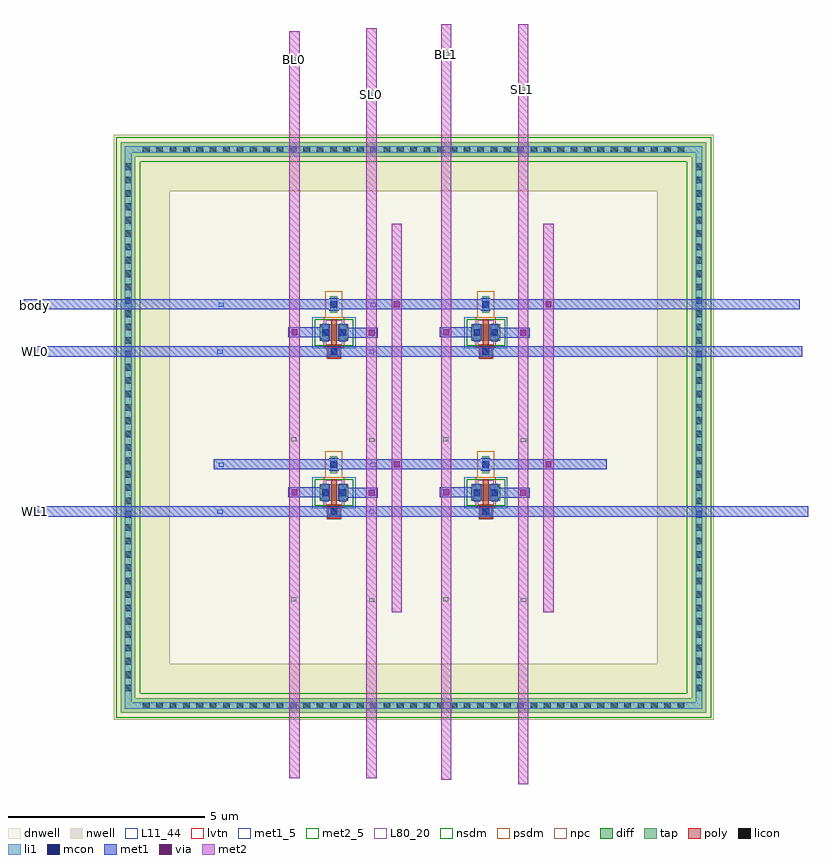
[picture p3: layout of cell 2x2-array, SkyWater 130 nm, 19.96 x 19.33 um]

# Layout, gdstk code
import gdstk
lib = gdstk.Library(unit=1e-6, precision=1e-09)
def R(c, l, rs):  # rectangles x0, y0, x1, y1
    for r in rs: c.add(gdstk.rectangle(r[:2], r[2:], *l))
def A(c, l, x, y, w, h, nx, ny, dx, dy):  # array of equal rectangles
    R(c, l, [(x+i*dx, y+j*dy, x+i*dx+w, y+j*dy+h) for i in range(nx) for j in range(ny)])
L11_44 = (11, 44)
dnwell = (64, 18)
nwell = (64, 20)
diff = (65, 20)
tap = (65, 44)
poly = (66, 20)
licon = (66, 44)
li1 = (67, 20)
mcon = (67, 44)
met1_5 = (68, 5)
met1 = (68, 20)
via = (68, 44)
met2_5 = (69, 5)
met2 = (69, 20)
L80_20 = (80, 20)
nsdm = (93, 44)
psdm = (94, 20)
npc = (95, 20)
lvtn = (125, 44)

sky130_fd_bs_flash__spec = lib.new_cell('sky130_fd_bs_flash__special_sonosfet_star_ocehe0')
R(sky130_fd_bs_flash__spec, L11_44, [(-0.55,-0.24,0.55,0.55)])
R(sky130_fd_bs_flash__spec, dnwell, [(-2.145,-2.195,2.145,2.195)])
R(sky130_fd_bs_flash__spec, diff, [(-0.365,-0.055,0.365,0.365)])
R(sky130_fd_bs_flash__spec, poly, [(-0.165,-0.495,0.165,-0.165), (-0.075,-0.165,0.075,0.495)])
R(sky130_fd_bs_flash__spec, licon, [(-0.085,-0.415,0.085,-0.245), (-0.305,0.07,-0.135,0.24), (0.135,0.07,0.305,0.24)])
R(sky130_fd_bs_flash__spec, li1, [(-0.165,-0.415,0.165,-0.245), (-0.305,-0.075,-0.135,0.385), (0.135,-0.075,0.305,0.385)])
R(sky130_fd_bs_flash__spec, mcon, [(-0.085,-0.415,0.085,-0.245), (-0.305,0.07,-0.135,0.24), (0.135,0.07,0.305,0.24)])
R(sky130_fd_bs_flash__spec, met1, [(-0.145,-0.445,0.145,-0.215), (-0.335,-0.055,-0.105,0.365), (0.105,-0.055,0.335,0.365)])
R(sky130_fd_bs_flash__spec, L80_20, [(-0.205,-0.155,0.205,0.465)])
R(sky130_fd_bs_flash__spec, nsdm, [(-0.49,-0.18,0.49,0.49)])
R(sky130_fd_bs_flash__spec, npc, [(-0.185,-0.515,0.185,-0.145)])
R(sky130_fd_bs_flash__spec, lvtn, [(-0.255,-0.235,0.255,0.545)])

c_1t_cell = lib.new_cell('1T-cell')
R(c_1t_cell, tap, [(2.05,2.85,2.23,3.28)])
R(c_1t_cell, licon, [(2.055,2.98,2.225,3.15)])
R(c_1t_cell, li1, [(2.05,2.89,2.23,3.24)])
R(c_1t_cell, mcon, [(2.055,2.98,2.225,3.15)])
R(c_1t_cell, met1_5, [(-0.82,1.81,-0.69,1.91), (-0.79,3.01,-0.66,3.11)])
R(c_1t_cell, met1, [(-0.91,1.74,5.22,2), (2.37,2.22,3.26,2.48), (0.98,2.23,1.93,2.49), (2.02,2.91,2.26,2.94), (-0.91,2.94,5.22,3.2), (2.02,3.2,2.26,3.22)])
R(c_1t_cell, via, [(3.025,2.275,3.175,2.425), (1.065,2.285,1.215,2.435), (3.665,2.995,3.815,3.145)])
R(c_1t_cell, met2_5, [(3.04,-0.43,3.17,-0.33), (1.06,-0.41,1.19,-0.31)])
R(c_1t_cell, met2, [(2.97,-0.71,3.23,5.12), (3.61,-0.69,3.87,5.12), (1.01,-0.67,1.27,5.1)])
R(c_1t_cell, psdm, [(1.925,2.725,2.355,3.405)])
c_1t_cell.add(gdstk.Reference(sky130_fd_bs_flash__spec, (2.145,2.195)))
c_1t_cell.add(gdstk.Label('gate', (-0.755,1.86), layer=68, texttype=5))
c_1t_cell.add(gdstk.Label('drain', (1.125,-0.36), layer=69, texttype=5))
c_1t_cell.add(gdstk.Label('source', (3.105,-0.38), layer=69, texttype=5))
c_1t_cell.add(gdstk.Label('body', (-0.725,3.06), layer=68, texttype=5))

c_2x2_array = lib.new_cell('2x2-array')
R(c_2x2_array, dnwell, [(-2.15,-2.32,12.31,11.76)])
R(c_2x2_array, nwell, [(-2.55,-2.72,12.71,-1.29), (-2.55,-1.29,-1.12,10.73), (11.28,-1.29,12.71,10.73), (-2.55,10.73,12.71,12.16)])
R(c_2x2_array, tap, [(-2.365,-2.535,12.525,-2.165), (-2.365,-2.165,-1.995,11.605), (12.155,-2.165,12.525,11.605), (-2.365,11.605,12.525,11.975)])
A(c_2x2_array, licon, -1.805, -2.435, 0.17, 0.17, 41, 2, 0.34, 14.14)
A(c_2x2_array, licon, -2.265, -1.995, 0.17, 0.17, 1, 40, 0, 0.34)
A(c_2x2_array, licon, 12.255, -1.995, 0.17, 0.17, 1, 40, 0, 0.34)
R(c_2x2_array, li1, [(-2.265,-2.435,12.425,-2.265), (-2.265,-2.265,-2.095,11.705), (12.255,-2.265,12.425,11.705), (-2.265,11.705,12.425,11.875)])
R(c_2x2_array, met1_5, [(-4.59,2.54,-4.47,2.63), (-4.61,6.6,-4.49,6.69), (-4.63,7.78,-4.51,7.87)])
R(c_2x2_array, met1, [(-4.69,2.45,15.12,2.71), (-4.78,6.52,14.96,6.78), (-4.84,7.72,14.9,7.98)])
R(c_2x2_array, met2_5, [(3.94,13.14,4.06,13.23), (7.79,13.28,7.91,13.37), (1.98,14.04,2.1,14.13), (5.86,14.17,5.98,14.26)])
R(c_2x2_array, met2, [(7.74,-4.35,8,14.98), (5.78,-4.24,6.04,14.98), (1.92,-4.2,2.18,14.8), (3.88,-4.2,4.14,14.87)])
R(c_2x2_array, nsdm, [(-2.49,-2.66,12.65,-2.04), (-2.49,-2.04,-1.87,11.48), (12.03,-2.04,12.65,11.48), (-2.49,11.48,12.65,12.1)])
r = gdstk.Reference(c_1t_cell, (0.91,0.71)); r.repetition = gdstk.Repetition(2, 2, v1=(3.86,0), v2=(0,4.07)); c_2x2_array.add(r)
c_2x2_array.add(gdstk.Label('WL0', (-4.55,6.645), layer=68, texttype=5))
c_2x2_array.add(gdstk.Label('WL1', (-4.53,2.585), layer=68, texttype=5))
c_2x2_array.add(gdstk.Label('BL0', (2.04,14.085), layer=69, texttype=5))
c_2x2_array.add(gdstk.Label('SL0', (4,13.185), layer=69, texttype=5))
c_2x2_array.add(gdstk.Label('BL1', (5.92,14.215), layer=69, texttype=5))
c_2x2_array.add(gdstk.Label('SL1', (7.85,13.325), layer=69, texttype=5))
c_2x2_array.add(gdstk.Label('body', (-4.57,7.825), layer=68, texttype=5))

lib.write_gds('2x2-array.gds')
